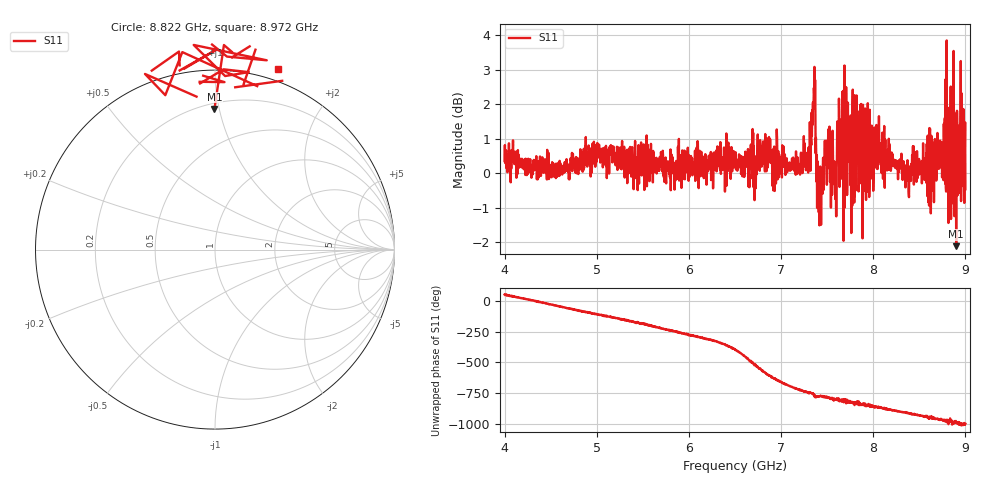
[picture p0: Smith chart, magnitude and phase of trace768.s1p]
! Created with skrf 1.8.0 (http://scikit-rf.org).
# Hz S RI R 50.0
!freq ReS11 ImS11
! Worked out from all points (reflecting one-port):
!   1601 points, 4 GHz to 9 GHz, reference 50 ohm
!   lowest |S11| = -2.1 dB at 8.9 GHz (marker M1), VSWR 8.27, Z = 11.9 + j48.4 ohm
!   phase of S11 starts at 50 deg and turns -1048 deg over the sweep
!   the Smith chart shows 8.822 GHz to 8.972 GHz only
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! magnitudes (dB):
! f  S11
! 4 GHz  0.4
! 4.625 GHz  0.0
! 5.25 GHz  0.3
! 5.875 GHz  0.1
! 6.5 GHz  0.3
! 6.869 GHz  1.0
! 7.125 GHz  0.3
! 7.294 GHz  0.0
! 7.347 GHz  2.1
! 7.369 GHz  2.7
! 7.409 GHz  -1.1
! 7.5 GHz  0.9
! 7.591 GHz  0.2
! 7.65 GHz  1.1
! 7.75 GHz  0.6
! 7.856 GHz  1.0
! 7.909 GHz  1.6
! 7.962 GHz  1.8
! 7.981 GHz  -0.1
! 8.375 GHz  0.1
! 8.441 GHz  -0.3
! 8.581 GHz  0.8
! 8.788 GHz  -0.4
! 8.816 GHz  -1.4
! 8.825 GHz  0.5
! 8.9 GHz  -2.1
! 8.959 GHz  2.3
! 9 GHz  -0.5
